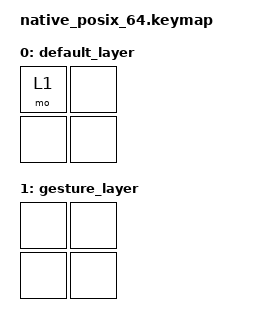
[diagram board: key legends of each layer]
#include "../../behavior_keymap.dtsi"

/ {
    keymap {
        compatible = "zmk,keymap";

        default_layer {
            bindings = <
                &mo 1 &none
                &none &none
            >;
        };

        gesture_layer {
            bindings = <
                &none &none
                &none &none
            >;
        };
    };

    mock_mouse: mock_mouse {
        compatible = "zmk,input-mock";
        event-startup-delay = <1500>;
        event-period = <10>;
        events = <
            INPUT_EV_REL INPUT_REL_X 100 1
        >;
    };

    mouse_listener: mouse_listener {
        compatible = "zmk,input-listener";
        device = <&mock_mouse>;

        gesture_override {
            layers = <1>;
            input-processors = <&zip_mouse_gesture>;
        };
    };
};

&kscan {
    events = <
        ZMK_MOCK_PRESS(0,0,1000)
        ZMK_MOCK_RELEASE(0,0,10)
    >;
};

&zip_mouse_gesture {
    stroke-size = <100>;
    movement-threshold = <0>;
    gesture-cooldown-ms = <0>;
    idle-timeout-ms = <0>;
    enable-eager-mode;
    always-active;
    suppress-movement;

    right {
        pattern = <GESTURE_RIGHT>;
        bindings = <&kp A>;
    };
};
